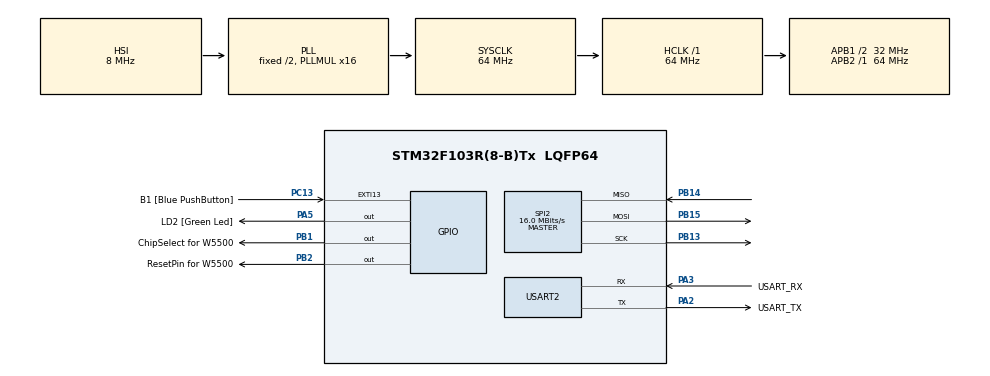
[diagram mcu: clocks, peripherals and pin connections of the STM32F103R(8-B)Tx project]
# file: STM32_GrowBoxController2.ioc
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Mcu.Family=STM32F1
Mcu.Name=STM32F103R(8-B)Tx
Mcu.Package=LQFP64
NVIC.EXTI15_10_IRQn=true\:0\:0\:false\:false\:true\:true\:true\:true
NVIC.PriorityGroup=NVIC_PRIORITYGROUP_4
PA13.GPIO_Label=TMS
PA13.Mode=Serial_Wire
PA13.Signal=SYS_JTMS-SWDIO
PA14.GPIO_Label=TCK
PA14.Mode=Serial_Wire
PA14.Signal=SYS_JTCK-SWCLK
PA2.GPIO_Label=USART_TX
PA2.GPIO_Mode=GPIO_MODE_AF_PP
PA2.GPIO_PuPd=GPIO_NOPULL
PA2.GPIO_Speed=GPIO_SPEED_FREQ_LOW
PA2.Mode=Asynchronous
PA2.Signal=USART2_TX
PA3.GPIO_Label=USART_RX
PA3.GPIO_Mode=GPIO_MODE_AF_PP
PA3.GPIO_PuPd=GPIO_NOPULL
PA3.GPIO_Speed=GPIO_SPEED_FREQ_LOW
PA3.Mode=Asynchronous
PA3.Signal=USART2_RX
PA5.GPIO_Label=LD2 [Green Led]
PA5.GPIO_ModeDefaultOutputPP=GPIO_MODE_OUTPUT_PP
PA5.GPIO_PuPd=GPIO_NOPULL
PA5.GPIO_Speed=GPIO_SPEED_FREQ_LOW
PA5.Signal=GPIO_Output
PB1.GPIO_Label=ChipSelect for W5500
PB1.Signal=GPIO_Output
PB13.Mode=Full_Duplex_Master
PB13.Signal=SPI2_SCK
PB14.Mode=Full_Duplex_Master
PB14.Signal=SPI2_MISO
PB15.Mode=Full_Duplex_Master
PB15.Signal=SPI2_MOSI
PB2.GPIO_Label=ResetPin for W5500
PB2.Signal=GPIO_Output
PB3.GPIO_Label=SWO
PB3.Signal=SYS_JTDO-TRACESWO
PC13-TAMPER-RTC.GPIO_Label=B1 [Blue PushButton]
PC13-TAMPER-RTC.GPIO_PuPd=GPIO_NOPULL
PC13-TAMPER-RTC.Signal=GPXTI13
PC14-OSC32_IN.Mode=LSE-External-Oscillator
PC14-OSC32_IN.Signal=RCC_OSC32_IN
PC15-OSC32_OUT.Mode=LSE-External-Oscillator
PC15-OSC32_OUT.Signal=RCC_OSC32_OUT
PD0-OSC_IN.Mode=HSE-External-Oscillator
PD0-OSC_IN.Signal=RCC_OSC_IN
PD1-OSC_OUT.Mode=HSE-External-Oscillator
PD1-OSC_OUT.Signal=RCC_OSC_OUT
ProjectManager.HeapSize=0x200
ProjectManager.StackSize=0x400
ProjectManager.TargetToolchain=STM32CubeIDE
RCC.AHBFreq_Value=64000000
RCC.APB1CLKDivider=RCC_HCLK_DIV2
RCC.APB1Freq_Value=32000000
RCC.APB1TimFreq_Value=64000000
RCC.APB2Freq_Value=64000000
RCC.APB2TimFreq_Value=64000000
RCC.HCLKFreq_Value=64000000
RCC.PLLMUL=RCC_PLL_MUL16
RCC.RTCClockSelection=RCC_RTCCLKSOURCE_LSE
RCC.SYSCLKFreq_VALUE=64000000
RCC.SYSCLKSource=RCC_SYSCLKSOURCE_PLLCLK
RCC.USBFreq_Value=64000000
SPI2.CalculateBaudRate=16.0 MBits/s
SPI2.Direction=SPI_DIRECTION_2LINES
SPI2.Mode=SPI_MODE_MASTER
SPI2.VirtualType=VM_MASTER
USART2.VirtualMode=VM_ASYNC
USART2.WordLength=WORDLENGTH_8B
board=NUCLEO-F103RB

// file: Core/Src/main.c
/* USER CODE BEGIN Header */
/**
  ******************************************************************************
  * @file           : main.c
  * @brief          : Main program body
  ******************************************************************************
  * @attention
  *
  * Copyright (c) 2024 STMicroelectronics.
  * All rights reserved.
  *
  * This software is licensed under terms that can be found in the LICENSE file
  * in the root directory of this software component.
  * If no LICENSE file comes with this software, it is provided AS-IS.
  *
  ******************************************************************************
  */
/* USER CODE END Header */
#include "main.h"
#include <stdio.h>

/* USER CODE BEGIN Includes */
#include "wizchip_conf.h"
#include "webpage.h"
#include "Internet/dns/dns.h"
#include "Internet/dhcp/dhcp.h"
/* USER CODE END Includes */

/* USER CODE BEGIN PD */
#define DATA_BUF_SIZE	2048
/* USER CODE END PD */

SPI_HandleTypeDef hspi2;

UART_HandleTypeDef huart2;

/* USER CODE BEGIN PV */
wiz_NetInfo defaultNetInfo = { .mac = {0x00,0x08,0xdc,0xff,0xee,0xdd},
							.ip = {192,168,178,100},
							.sn = {255,255,255,0},
							.gw = {192,168,178,1},
							.dns = {8, 8, 8, 8},
							.dhcp = NETINFO_STATIC};

// for DHCP, DNS
#define __USE_DHCP__
#define __USE_DNS__
#define _MAIN_DEBUG_
#define SOCK_DHCP               3
#define SOCK_DNS                4
typedef enum
{
  OFF = 0,
  ON  = 1
} OnOff_State_Type;
uint8_t flag_process_dhcp_success = OFF;
uint8_t flag_process_dns_success = OFF;
uint8_t dns_server[4] = {168, 126, 63, 1}; // Secondary DNS server IP

uint8_t Domain_IP[4] = {0}; // Translated IP address by DNS Server
uint8_t Domain_name[] = "www.google.com";

uint8_t g_send_buf[DATA_BUF_SIZE];
uint8_t g_recv_buf[DATA_BUF_SIZE];

uint8_t data_buf[DATA_BUF_SIZE]; // TX Buffer for applications

/* USER CODE END PV */

void SystemClock_Config(void);
static void MX_GPIO_Init(void);
static void MX_USART2_UART_Init(void);
static void MX_SPI2_Init(void);
/* USER CODE BEGIN PFP */
void print_network_information(void);
int8_t process_dhcp(void);
int8_t process_dns(void);
int _write(int fd, char *str, int len)
{
	for(int i = 0; i < len; i++)
	{
		HAL_UART_Transmit(&huart2, (uint8_t *)&str[i], 1, 0xFFFF);
	}
	return len;
}

/* USER CODE END PFP */

int main(void)
{

  /* MCU Configuration--------------------------------------------------------*/

  /* Reset of all peripherals, Initializes the Flash interface and the Systick. */
  HAL_Init();

  /* Configure the system clock */
  SystemClock_Config();

  /* Initialize all configured peripherals */
  MX_GPIO_Init();
  MX_USART2_UART_Init();
  MX_SPI2_Init();
  /* USER CODE BEGIN 2 */
  printf("\t - W5x00 Project - \r\n");
  resetAssert();
  HAL_Delay(300);
  resetDeassert();
  HAL_Delay(300);
  printf("\t - WizChip Init - \r\n");

  WIZCHIPInitialize();

  printf("version:%.2x\r\n", getVERSIONR());

  wizchip_setnetinfo(&defaultNetInfo);
  print_network_information();

#ifdef __USE_DHCP__
  if(process_dhcp() == DHCP_IP_LEASED) // DHCP success
  {
    flag_process_dhcp_success = ON;
  }
  else // DHCP failed
  {
    ctlnetwork(CN_SET_NETINFO, &defaultNetInfo); // Set default static IP settings
  }
#else
  ctlnetwork(CN_SET_NETINFO, &defaultNetInfo); // Set default static IP settings
#endif
  printf("Register value after W5x00 initialize!\r\n");
  print_network_information();

  /* DNS client */
#ifdef __USE_DNS__
  if(process_dns()) // DNS success
  {
    flag_process_dns_success = ON;
  }
#endif
  // Debug UART: DNS results print out
#ifdef __USE_DHCP__
  if(flag_process_dhcp_success == ENABLE)
  {
    printf(" # DHCP IP Leased time : %u seconds\r\n", getDHCPLeasetime());
  }
  else
  {
    printf(" # DHCP Failed\r\n");
  }
#endif

#ifdef __USE_DNS__
  if(flag_process_dns_success == ENABLE)
  {
    printf(" # DNS: %s => %d.%d.%d.%d\r\n", Domain_name, Domain_IP[0], Domain_IP[1], Domain_IP[2], Domain_IP[3]);
  }
  else
  {
    printf(" # DNS Failed\r\n");
  }
#endif

  /* USER CODE END 2 */

  /* Infinite loop */
  /* USER CODE BEGIN WHILE */
  while (1)
  {
    // Network connection handling code
    // Example: handling incoming connections or performing periodic tasks
    /* USER CODE END WHILE */

  }
}

void SystemClock_Config(void)
{
  RCC_OscInitTypeDef RCC_OscInitStruct = {0};
  RCC_ClkInitTypeDef RCC_ClkInitStruct = {0};

  /** Initializes the RCC Oscillators according to the specified parameters
  * in the RCC_OscInitTypeDef structure.
  */
  RCC_OscInitStruct.OscillatorType = RCC_OSCILLATORTYPE_HSI;
  RCC_OscInitStruct.HSIState = RCC_HSI_ON;
  RCC_OscInitStruct.HSICalibrationValue = RCC_HSICALIBRATION_DEFAULT;
  RCC_OscInitStruct.PLL.PLLState = RCC_PLL_ON;
  RCC_OscInitStruct.PLL.PLLSource = RCC_PLLSOURCE_HSI_DIV2;
  RCC_OscInitStruct.PLL.PLLMUL = RCC_PLL_MUL16;
  if (HAL_RCC_OscConfig(&RCC_OscInitStruct) != HAL_OK)
  {
    Error_Handler();
  }

  /** Initializes the CPU, AHB and APB buses clocks
  */
  RCC_ClkInitStruct.ClockType = RCC_CLOCKTYPE_HCLK | RCC_CLOCKTYPE_SYSCLK
                                | RCC_CLOCKTYPE_PCLK1 | RCC_CLOCKTYPE_PCLK2;
  RCC_ClkInitStruct.SYSCLKSource = RCC_SYSCLKSOURCE_PLLCLK;
  RCC_ClkInitStruct.AHBCLKDivider = RCC_SYSCLK_DIV1;
  RCC_ClkInitStruct.APB1CLKDivider = RCC_HCLK_DIV2;
  RCC_ClkInitStruct.APB2CLKDivider = RCC_HCLK_DIV1;

  if (HAL_RCC_ClockConfig(&RCC_ClkInitStruct, FLASH_LATENCY_2) != HAL_OK)
  {
    Error_Handler();
  }
}

static void MX_SPI2_Init(void)
{

  /* SPI2 parameter configuration */
  hspi2.Instance = SPI2;
  hspi2.Init.Mode = SPI_MODE_MASTER;
  hspi2.Init.Direction = SPI_DIRECTION_2LINES;
  hspi2.Init.DataSize = SPI_DATASIZE_8BIT;
  hspi2.Init.CLKPolarity = SPI_POLARITY_LOW;
  hspi2.Init.CLKPhase = SPI_PHASE_1EDGE;
  hspi2.Init.NSS = SPI_NSS_SOFT;
  hspi2.Init.BaudRatePrescaler = SPI_BAUDRATEPRESCALER_2;
  hspi2.Init.FirstBit = SPI_FIRSTBIT_MSB;
  hspi2.Init.TIMode = SPI_TIMODE_DISABLE;
  hspi2.Init.CRCCalculation = SPI_CRCCALCULATION_DISABLE;
  hspi2.Init.CRCPolynomial = 10;
  if (HAL_SPI_Init(&hspi2) != HAL_OK)
  {
    Error_Handler();
  }
}

static void MX_USART2_UART_Init(void)
{

  huart2.Instance = USART2;
  huart2.Init.BaudRate = 115200;
  huart2.Init.WordLength = UART_WORDLENGTH_8B;
  huart2.Init.StopBits = UART_STOPBITS_1;
  huart2.Init.Parity = UART_PARITY_NONE;
  huart2.Init.Mode = UART_MODE_TX_RX;
  huart2.Init.HwFlowCtl = UART_HWCONTROL_NONE;
  huart2.Init.OverSampling = UART_OVERSAMPLING_16;
  if (HAL_UART_Init(&huart2) != HAL_OK)
  {
    Error_Handler();
  }
}

static void MX_GPIO_Init(void)
{
  GPIO_InitTypeDef GPIO_InitStruct = {0};

  /* GPIO Ports Clock Enable */
  __HAL_RCC_GPIOC_CLK_ENABLE();
  __HAL_RCC_GPIOD_CLK_ENABLE();
  __HAL_RCC_GPIOA_CLK_ENABLE();
  __HAL_RCC_GPIOB_CLK_ENABLE();

  /*Configure GPIO pin Output Level */
  HAL_GPIO_WritePin(LD2_GPIO_Port, LD2_Pin, GPIO_PIN_RESET);

  /*Configure GPIO pin Output Level */
  HAL_GPIO_WritePin(GPIOB, ChipSelect_for_W5500_Pin | ResetPin_for_W5500_Pin, GPIO_PIN_RESET);

  /*Configure GPIO pin : B1_Pin */
  GPIO_InitStruct.Pin = B1_Pin;
  GPIO_InitStruct.Mode = GPIO_MODE_IT_RISING;
  GPIO_InitStruct.Pull = GPIO_NOPULL;
  HAL_GPIO_Init(B1_GPIO_Port, &GPIO_InitStruct);

  /*Configure GPIO pin : LD2_Pin */
  GPIO_InitStruct.Pin = LD2_Pin;
  GPIO_InitStruct.Mode = GPIO_MODE_OUTPUT_PP;
  GPIO_InitStruct.Pull = GPIO_NOPULL;
  GPIO_InitStruct.Speed = GPIO_SPEED_FREQ_LOW;
  HAL_GPIO_Init(LD2_GPIO_Port, &GPIO_InitStruct);

  /*Configure GPIO pins : ChipSelect_for_W5500_Pin ResetPin_for_W5500_Pin */
  GPIO_InitStruct.Pin = ChipSelect_for_W5500_Pin | ResetPin_for_W5500_Pin;
  GPIO_InitStruct.Mode = GPIO_MODE_OUTPUT_PP;
  GPIO_InitStruct.Pull = GPIO_NOPULL;
  GPIO_InitStruct.Speed = GPIO_SPEED_FREQ_LOW;
  HAL_GPIO_Init(GPIOB, &GPIO_InitStruct);

  /* EXTI interrupt init*/
  HAL_NVIC_SetPriority(EXTI15_10_IRQn, 0, 0);
  HAL_NVIC_EnableIRQ(EXTI15_10_IRQn);

}

/* USER CODE BEGIN 4 */
void print_network_information(void)
{
  wizchip_getnetinfo(&defaultNetInfo);
  printf("Mac address: %02x:%02x:%02x:%02x:%02x:%02x\n\r", defaultNetInfo.mac[0], defaultNetInfo.mac[1], defaultNetInfo.mac[2], defaultNetInfo.mac[3], defaultNetInfo.mac[4], defaultNetInfo.mac[5]);
  printf("IP address : %d.%d.%d.%d\n\r", defaultNetInfo.ip[0], defaultNetInfo.ip[1], defaultNetInfo.ip[2], defaultNetInfo.ip[3]);
  printf("SM Mask    : %d.%d.%d.%d\n\r", defaultNetInfo.sn[0], defaultNetInfo.sn[1], defaultNetInfo.sn[2], defaultNetInfo.sn[3]);
  printf("Gate way   : %d.%d.%d.%d\n\r", defaultNetInfo.gw[0], defaultNetInfo.gw[1], defaultNetInfo.gw[2], defaultNetInfo.gw[3]);
  printf("DNS Server : %d.%d.%d.%d\n\r", defaultNetInfo.dns[0], defaultNetInfo.dns[1], defaultNetInfo.dns[2], defaultNetInfo.dns[3]);
}

int8_t process_dhcp(void)
{
  uint8_t ret = 0;
  uint8_t dhcp_retry = 0;

#ifdef _MAIN_DEBUG_
  printf(" - DHCP Client running\r\n");
#endif
  DHCP_init(SOCK_DHCP, data_buf);
  while (1)
  {
    ret = DHCP_run();

    if (ret == DHCP_IP_LEASED)
    {
#ifdef _MAIN_DEBUG_
      printf(" - DHCP Success\r\n");
#endif
      break;
    }
    else if (ret == DHCP_FAILED)
    {
      dhcp_retry++;
#ifdef _MAIN_DEBUG_
      if (dhcp_retry <= 3) printf(" - DHCP Timeout occurred and retry [%d]\r\n", dhcp_retry);
#endif
    }

    if (dhcp_retry > 3)
    {
#ifdef _MAIN_DEBUG_
      printf(" - DHCP Failed\r\n\r\n");
#endif
      DHCP_stop();
      break;
    }
  }

  return ret;
}

int8_t process_dns(void)
{
  int8_t ret = 0;
  uint8_t dns_retry = 0;

#ifdef _MAIN_DEBUG_
  printf(" - DNS Client running\r\n");
#endif
  DNS_init(SOCK_DNS, data_buf);

  while (1)
  {
    if ((ret = DNS_run(dns_server, (uint8_t *)Domain_name, Domain_IP)) == 1)
    {
#ifdef _MAIN_DEBUG_
      printf(" - DNS Success\r\n");
#endif
      break;
    }
    else
    {
      dns_retry++;
#ifdef _MAIN_DEBUG_
      if (dns_retry <= 2) printf(" - DNS Timeout occurred and retry [%d]\r\n", dns_retry);
#endif
    }

    if (dns_retry > 2)
    {
#ifdef _MAIN_DEBUG_
      printf(" - DNS Failed\r\n\r\n");
#endif
      break;
    }

#ifdef __USE_DHCP__
    DHCP_run();
#endif
  }
  return ret;
}
/* USER CODE END 4 */

void Error_Handler(void)
{
  __disable_irq();
  while (1)
  {
  }
}
